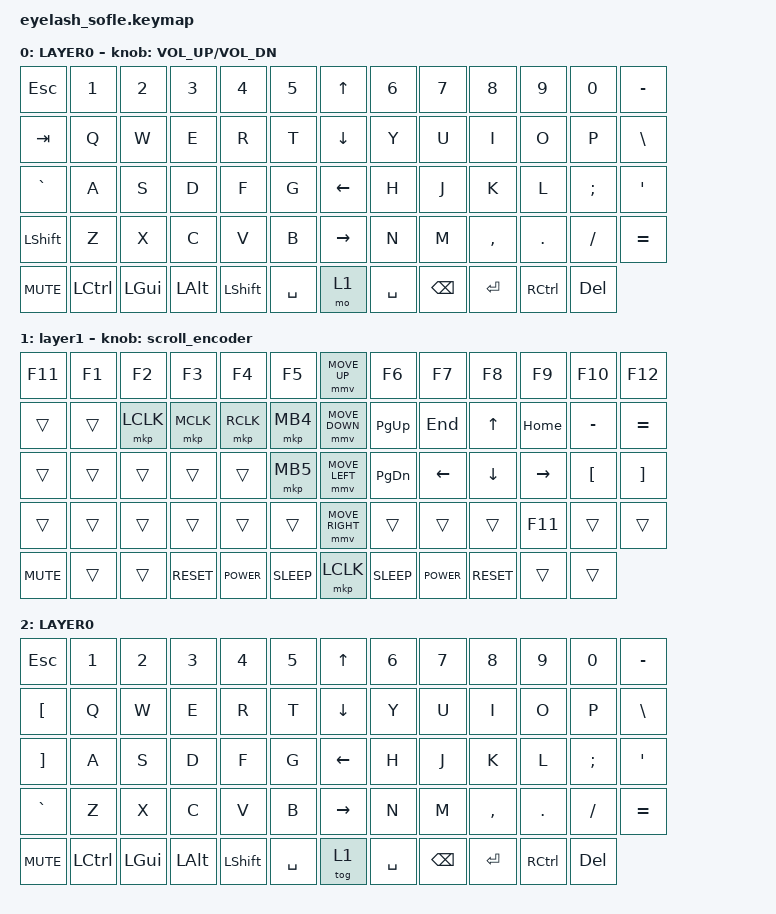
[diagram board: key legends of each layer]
#define ZMK_POINTING_DEFAULT_MOVE_VAL 1200  // 600
#define ZMK_POINTING_DEFAULT_SCRL_VAL 25   // 10

#include <input/processors.dtsi>
#include <zephyr/dt-bindings/input/input-event-codes.h>
#include <behaviors.dtsi>
#include <dt-bindings/zmk/keys.h>
#include <dt-bindings/zmk/pointing.h>

&mmv_input_listener { input-processors = <&zip_xy_scaler 2 1>; };

&msc_input_listener { input-processors = <&zip_scroll_scaler 2 1>; };

&msc {
    acceleration-exponent = <1>;      // 0
    time-to-max-speed-ms = <100>;       // 300
    delay-ms = <0>;                   // 0
};

&mmv {
    time-to-max-speed-ms = <500>;
    acceleration-exponent = <1>;
    trigger-period-ms = <16>;
};

&soft_off { hold-time-ms = <2000>; };

/ {
    scroll_encoder: scroll_encoder {
        compatible = "zmk,behavior-sensor-rotate";
        #sensor-binding-cells = <0>;
        bindings = <&msc SCRL_DOWN>, <&msc SCRL_UP>;

        tap-ms = <100>;
    };

    behaviors {
    };

    combos {
        compatible = "zmk,combos";

        softoff {
            bindings = <&soft_off>;
            key-positions = <14 28 40>;
        };

        codemode {
            bindings = <&tog 2>;
            key-positions = <59 57>;
        };
    };

    macros {
        SHIFT_MCLK: SHIFT_MCLK {
            compatible = "zmk,behavior-macro";
            #binding-cells = <0>;
            bindings =
                <&macro_press>,
                <&kp LEFT_SHIFT>,
                <&macro_press>,
                <&mkp MB3>,
                <&macro_pause_for_release>,
                <&macro_release>,
                <&kp LEFT_SHIFT &mkp MB3>;

            label = "SHIFT_MCLK";
        };
    };

    keymap {
        compatible = "zmk,keymap";

        DFLT {
            bindings = <
&kp ESC     &kp N1     &kp N2        &kp N3        &kp N4     &kp N5       &kp UP_ARROW     &kp N6     &kp N7         &kp N8     &kp N9     &kp N0      &kp MINUS
&kp TAB     &kp Q      &kp W         &kp E         &kp R      &kp T        &kp DOWN_ARROW   &kp Y      &kp U          &kp I      &kp O      &kp P       &kp BSLH
&kp GRAVE   &kp A      &kp S         &kp D         &kp F      &kp G        &kp LEFT_ARROW   &kp H      &kp J          &kp K      &kp L      &kp SEMI    &kp APOS
&kp LSHFT   &kp Z      &kp X         &kp C         &kp V      &kp B        &kp RIGHT_ARROW  &kp N      &kp M          &kp COMMA  &kp DOT    &kp FSLH    &kp EQUAL
&kp C_MUTE  &kp LCTRL  &kp LEFT_GUI  &kp LEFT_ALT  &kp LSHFT  &kp SPACE    &mo 1            &kp SPACE  &kp BACKSPACE  &kp ENTER  &kp RCTRL  &kp DELETE
            >;

            sensor-bindings = <&inc_dec_kp C_VOLUME_UP C_VOL_DN>;
            display-name = "LAYER0";
        };

        FN {
            bindings = <
&kp F11     &kp F1  &kp F2     &kp F3       &kp F4       &kp F5         &mmv MOVE_UP     &kp F6       &kp F7       &kp F8       &kp F9     &kp F10           &kp F12
&trans      &trans  &mkp LCLK  &mkp MCLK    &mkp RCLK    &mkp MB4       &mmv MOVE_DOWN   &kp PG_UP    &kp END      &kp UP       &kp HOME   &kp MINUS         &kp EQUAL
&trans      &trans  &trans     &trans       &trans       &mkp MB5       &mmv MOVE_LEFT   &kp PG_DN    &kp LEFT     &kp DOWN     &kp RIGHT  &kp LEFT_BRACKET  &kp RIGHT_BRACKET
&trans      &trans  &trans     &trans       &trans       &trans         &mmv MOVE_RIGHT  &trans       &trans       &trans       &kp F11    &trans            &trans
&kp C_MUTE  &trans  &trans     &kp C_RESET  &kp C_POWER  &kp C_SLEEP    &mkp LCLK        &kp C_SLEEP  &kp C_POWER  &kp C_RESET  &trans     &trans
            >;

            display-name = "layer1";
            sensor-bindings = <&scroll_encoder>;
        };

        CODE {
            display-name = "LAYER0";
            bindings = <
&kp ESC            &kp N1     &kp N2        &kp N3        &kp N4     &kp N5       &kp UP_ARROW     &kp N6     &kp N7         &kp N8     &kp N9     &kp N0      &kp MINUS
&kp LEFT_BRACKET   &kp Q      &kp W         &kp E         &kp R      &kp T        &kp DOWN_ARROW   &kp Y      &kp U          &kp I      &kp O      &kp P       &kp BSLH
&kp RIGHT_BRACKET  &kp A      &kp S         &kp D         &kp F      &kp G        &kp LEFT_ARROW   &kp H      &kp J          &kp K      &kp L      &kp SEMI    &kp APOS
&kp GRAVE          &kp Z      &kp X         &kp C         &kp V      &kp B        &kp RIGHT_ARROW  &kp N      &kp M          &kp COMMA  &kp DOT    &kp FSLH    &kp EQUAL
&kp C_MUTE         &kp LCTRL  &kp LEFT_GUI  &kp LEFT_ALT  &kp LSHFT  &kp SPACE    &tog 1           &kp SPACE  &kp BACKSPACE  &kp ENTER  &kp RCTRL  &kp DELETE
            >;
        };
    };
};
